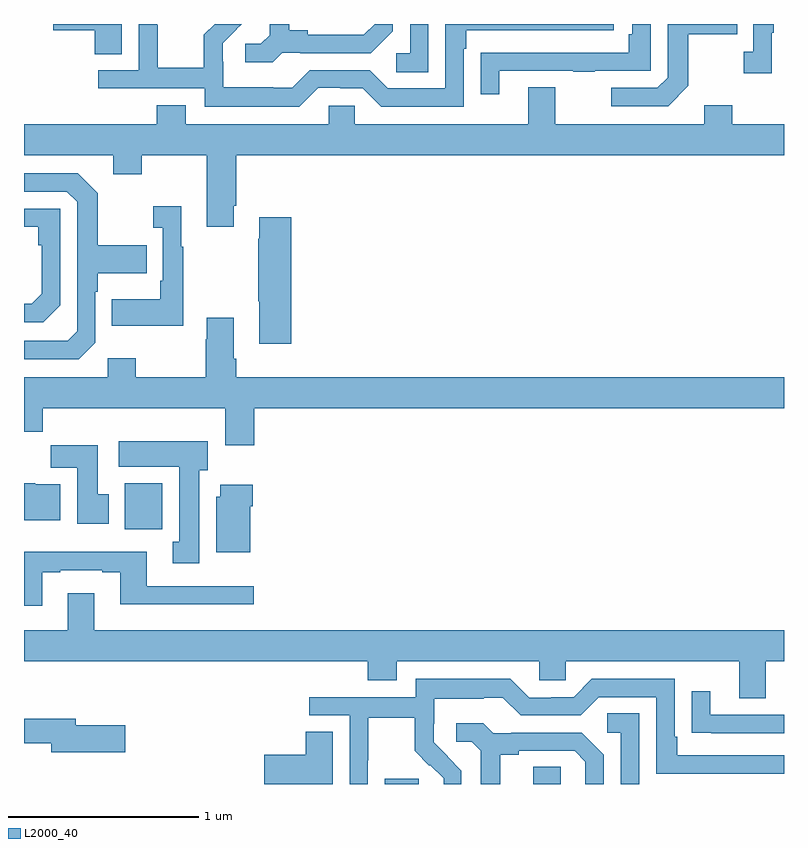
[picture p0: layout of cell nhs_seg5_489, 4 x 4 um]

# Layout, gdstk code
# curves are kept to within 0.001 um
import gdstk
lib = gdstk.Library(unit=1e-6, precision=1e-09)
def R(c, l, rs):  # rectangles x0, y0, x1, y1
    for r in rs: c.add(gdstk.rectangle(r[:2], r[2:], *l))
def P(c, l, *ps):  # polygons
    for p in ps: c.add(gdstk.Polygon(p, *l))
L2000_40 = (2000, 40)

nhs_seg5_489 = lib.new_cell('nhs_seg5_489')
R(nhs_seg5_489, L2000_40, [(144.899,838.799,145.078,838.827), (145.679,838.799,145.824,838.889), (143.531,840.14,143.728,840.382)])
P(nhs_seg5_489, L2000_40, [(146.497,842.473),(146.497,842.746),(146.753,842.746),(146.753,842.799),(146.388,842.799),(146.388,842.517),(146.334,842.463),(146.091,842.463),(146.091,842.367),(146.391,842.367)],
  [(144.36,842.649),(144.454,842.649),(144.454,842.646),(144.826,842.646),(144.942,842.762),(144.942,842.799),(144.845,842.799),(144.788,842.742),(144.493,842.742),(144.493,842.765),(144.397,842.765),(144.397,842.799),(144.293,842.799),(144.293,842.741),(144.246,842.694),(144.165,842.694),(144.165,842.597),(144.308,842.597)],
  [(145.128,842.799),(145.032,842.799),(145.032,842.646),(144.96,842.646),(144.96,842.545),(145.128,842.545)],
  [(145.501,842.553),(145.891,842.553),(145.891,842.548),(146.003,842.548),(146.003,842.553),(146.298,842.553),(146.298,842.799),(146.202,842.799),(146.202,842.746),(146.182,842.746),(146.182,842.649),(145.507,842.649),(145.507,842.648),(145.405,842.648),(145.405,842.43),(145.501,842.43)],
  [(146.935,842.753),(146.947,842.753),(146.947,842.799),(146.838,842.799),(146.838,842.654),(146.787,842.654),(146.787,842.541),(146.935,842.541)],
  [(143.515,842.799),(143.154,842.799),(143.154,842.765),(143.372,842.765),(143.372,842.641),(143.515,842.641)],
  [(144.549,842.463),(144.665,842.463),(144.665,842.46),(144.783,842.46),(144.879,842.364),(145.314,842.364),(145.314,842.669),(145.327,842.669),(145.327,842.766),(146.104,842.766),(146.104,842.799),(145.218,842.799),(145.218,842.46),(144.915,842.46),(144.819,842.556),(144.504,842.556),(144.411,842.463),(144.311,842.463),(144.311,842.467),(144.048,842.467),(144.048,842.601),(144.046,842.601),(144.046,842.698),(144.12,842.772),(144.119,842.773),(144.145,842.799),(144.003,842.799),(143.947,842.743),(143.947,842.569),(143.703,842.569),(143.703,842.792),(143.7,842.792),(143.7,842.799),(143.604,842.799),(143.604,842.556),(143.391,842.556),(143.391,842.46),(143.952,842.46),(143.952,842.363),(144.449,842.363)],
  [(146.579,842.371),(146.579,842.272),(145.795,842.272),(145.795,842.467),(145.655,842.467),(145.655,842.272),(144.741,842.272),(144.741,842.37),(144.603,842.37),(144.603,842.272),(143.851,842.272),(143.851,842.371),(143.699,842.371),(143.699,842.272),(143,842.272),(143,842.108),(143.471,842.108),(143.471,842.009),(143.619,842.009),(143.619,842.108),(143.963,842.108),(143.963,841.731),(144.103,841.731),(144.103,841.843),(144.116,841.843),(144.116,842.108),(147,842.108),(147,842.272),(146.727,842.272),(146.727,842.371)],
  [(143.376,841.122),(143.376,841.391),(143.389,841.391),(143.389,841.487),(143.645,841.487),(143.645,841.635),(143.389,841.635),(143.389,841.907),(143.283,842.013),(143,842.013),(143,841.917),(143.226,841.917),(143.28,841.863),(143.28,841.182),(143.229,841.131),(143,841.131),(143,841.035),(143.289,841.035)],
  [(143.839,841.627),(143.827,841.627),(143.827,841.84),(143.679,841.84),(143.679,841.727),(143.73,841.727),(143.73,841.447),(143.718,841.447),(143.718,841.351),(143.461,841.351),(143.461,841.211),(143.839,841.211)],
  [(143.19,841.32),(143.19,841.827),(143,841.827),(143,841.731),(143.074,841.731),(143.074,841.634),(143.094,841.634),(143.094,841.38),(143.041,841.327),(143,841.327),(143,841.23),(143.1,841.23)],
  [(144.407,841.783),(144.239,841.783),(144.239,841.67),(144.232,841.67),(144.232,841.339),(144.239,841.339),(144.239,841.116),(144.407,841.116)],
  [(144.212,840.776),(147,840.776),(147,840.94),(144.116,840.94),(144.116,841.036),(144.103,841.036),(144.103,841.252),(143.963,841.252),(143.963,841.139),(143.956,841.139),(143.956,840.94),(143.589,840.94),(143.589,841.039),(143.442,841.039),(143.442,840.94),(143,840.94),(143,840.652),(143.099,840.652),(143.099,840.776),(144.059,840.776),(144.059,840.582),(144.212,840.582)],
  [(143.923,840.45),(143.968,840.45),(143.968,840.604),(143.499,840.604),(143.499,840.47),(143.816,840.47),(143.816,840.074),(143.783,840.074),(143.783,839.961),(143.923,839.961)],
  [(143.446,840.324),(143.389,840.324),(143.389,840.583),(143.14,840.583),(143.14,840.464),(143.279,840.464),(143.279,840.168),(143.446,840.168)],
  [(143.191,840.376),(143.058,840.376),(143.058,840.382),(143,840.382),(143,840.188),(143.191,840.188)],
  [(144.19,840.26),(144.203,840.26),(144.203,840.373),(144.032,840.373),(144.032,840.312),(144.011,840.312),(144.011,840.02),(144.19,840.02)],
  [(143.095,839.913),(143.191,839.913),(143.191,839.925),(143.411,839.925),(143.411,839.913),(143.507,839.913),(143.507,839.744),(144.208,839.744),(144.208,839.841),(143.647,839.841),(143.647,840.022),(143,840.022),(143,839.736),(143.095,839.736)],
  [(146.905,839.444),(147,839.444),(147,839.608),(143.371,839.608),(143.371,839.803),(143.231,839.803),(143.231,839.608),(143,839.608),(143,839.444),(144.809,839.444),(144.809,839.345),(144.961,839.345),(144.961,839.444),(145.713,839.444),(145.713,839.346),(145.851,839.346),(145.851,839.444),(146.765,839.444),(146.765,839.25),(146.905,839.25)],
  [(144.81,838.924),(144.813,838.924),(144.813,839.148),(145.057,839.148),(145.057,838.973),(145.134,838.896),(145.137,838.899),(145.208,838.829),(145.208,838.799),(145.302,838.799),(145.302,838.87),(145.156,839.018),(145.156,839.115),(145.158,839.115),(145.158,839.249),(145.421,839.249),(145.421,839.253),(145.521,839.253),(145.614,839.16),(145.929,839.16),(146.025,839.256),(146.328,839.256),(146.328,838.854),(147,838.854),(147,838.95),(146.437,838.95),(146.437,839.047),(146.424,839.047),(146.424,839.352),(145.989,839.352),(145.893,839.256),(145.775,839.256),(145.775,839.253),(145.659,839.253),(145.559,839.353),(145.062,839.353),(145.062,839.256),(144.501,839.256),(144.501,839.16),(144.714,839.16),(144.714,838.799),(144.81,838.799)],
  [(147,839.163),(146.611,839.163),(146.611,839.287),(146.515,839.287),(146.515,839.068),(146.617,839.068),(146.617,839.067),(147,839.067)],
  [(146.238,839.171),(146.07,839.171),(146.07,839.07),(146.142,839.07),(146.142,838.799),(146.238,838.799)],
  [(143.533,839.109),(143.272,839.109),(143.272,839.143),(143,839.143),(143,839.014),(143.144,839.014),(143.144,838.967),(143.533,838.967)],
  [(145.507,838.952),(145.603,838.952),(145.603,838.974),(145.898,838.974),(145.955,838.917),(145.955,838.799),(146.052,838.799),(146.052,838.954),(145.936,839.07),(145.564,839.07),(145.564,839.067),(145.47,839.067),(145.418,839.119),(145.275,839.119),(145.275,839.022),(145.356,839.022),(145.403,838.975),(145.403,838.799),(145.507,838.799)],
  [(144.625,839.075),(144.482,839.075),(144.482,838.952),(144.264,838.952),(144.264,838.799),(144.625,838.799)])

lib.write_gds('nhs_seg5_489.gds')
